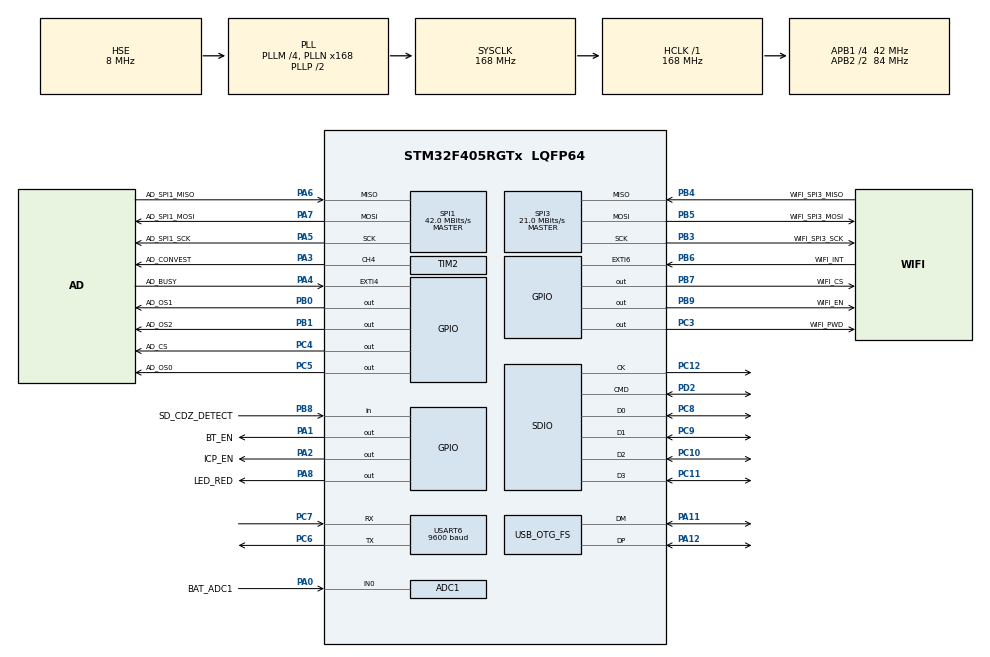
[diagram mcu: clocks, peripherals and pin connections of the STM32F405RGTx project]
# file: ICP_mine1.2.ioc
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ADC1.Channel-0\#ChannelRegularConversion=ADC_CHANNEL_0
ADC1.ClockPrescaler=ADC_CLOCK_SYNC_PCLK_DIV4
ADC1.ContinuousConvMode=DISABLE
ADC1.DMAContinuousRequests=DISABLE
ADC1.DataAlign=ADC_DATAALIGN_RIGHT
ADC1.DiscontinuousConvMode=DISABLE
ADC1.EOCSelection=ADC_EOC_SINGLE_CONV
ADC1.EnableAnalogWatchDog=false
ADC1.ExternalTrigConv=ADC_SOFTWARE_START
ADC1.ExternalTrigConvEdge=ADC_EXTERNALTRIGCONVEDGE_NONE
ADC1.InjNumberOfConversion=0
ADC1.NbrOfConversion=1
ADC1.NbrOfConversionFlag=1
ADC1.Rank-0\#ChannelRegularConversion=1
ADC1.Resolution=ADC_RESOLUTION_12B
ADC1.SamplingTime-0\#ChannelRegularConversion=ADC_SAMPLETIME_3CYCLES
ADC1.ScanConvMode=DISABLE
ADC1.master=1
Dma.Request0=SDIO_RX
Dma.Request1=SDIO_TX
Dma.SDIO_RX.0.Direction=DMA_PERIPH_TO_MEMORY
Dma.SDIO_RX.0.FIFOMode=DMA_FIFOMODE_ENABLE
Dma.SDIO_RX.0.FIFOThreshold=DMA_FIFO_THRESHOLD_FULL
Dma.SDIO_RX.0.Instance=DMA2_Stream3
Dma.SDIO_RX.0.MemBurst=DMA_MBURST_INC4
Dma.SDIO_RX.0.MemDataAlignment=DMA_MDATAALIGN_WORD
Dma.SDIO_RX.0.MemInc=DMA_MINC_ENABLE
Dma.SDIO_RX.0.Mode=DMA_PFCTRL
Dma.SDIO_RX.0.PeriphBurst=DMA_PBURST_INC4
Dma.SDIO_RX.0.PeriphDataAlignment=DMA_PDATAALIGN_WORD
Dma.SDIO_RX.0.PeriphInc=DMA_PINC_DISABLE
Dma.SDIO_RX.0.Priority=DMA_PRIORITY_HIGH
Dma.SDIO_TX.1.Direction=DMA_MEMORY_TO_PERIPH
Dma.SDIO_TX.1.FIFOMode=DMA_FIFOMODE_ENABLE
Dma.SDIO_TX.1.FIFOThreshold=DMA_FIFO_THRESHOLD_FULL
Dma.SDIO_TX.1.Instance=DMA2_Stream6
Dma.SDIO_TX.1.MemBurst=DMA_MBURST_INC4
Dma.SDIO_TX.1.MemDataAlignment=DMA_MDATAALIGN_WORD
Dma.SDIO_TX.1.MemInc=DMA_MINC_ENABLE
Dma.SDIO_TX.1.Mode=DMA_PFCTRL
Dma.SDIO_TX.1.PeriphBurst=DMA_PBURST_INC4
Dma.SDIO_TX.1.PeriphDataAlignment=DMA_PDATAALIGN_WORD
Dma.SDIO_TX.1.PeriphInc=DMA_PINC_DISABLE
Dma.SDIO_TX.1.Priority=DMA_PRIORITY_HIGH
FATFS._USE_LFN=2
FREERTOS.INCLUDE_eTaskGetState=1
FREERTOS.INCLUDE_pcTaskGetTaskName=1
FREERTOS.INCLUDE_uxTaskGetStackHighWaterMark=1
FREERTOS.INCLUDE_vTaskCleanUpResources=1
FREERTOS.INCLUDE_vTaskDelayUntil=1
FREERTOS.INCLUDE_xEventGroupSetBitFromISR=1
FREERTOS.INCLUDE_xTaskAbortDelay=1
FREERTOS.INCLUDE_xTimerPendFunctionCall=1
FREERTOS.Mutexes01=buf_mutex,Dynamic,NULL
FREERTOS.Tasks01=defaultTask,-3,128,StartDefaultTask,As weak,NULL,Dynamic,NULL,NULL;appTask,1,256,StartAppTask,As weak,NULL,Dynamic,NULL,NULL;test_Task,0,128,StartTest_Task,As weak,NULL,Dynamic,NULL,NULL;inquire,2,128,StartInquireTask,As weak,NULL,Dynamic,NULL,NULL
FREERTOS.configCHECK_FOR_STACK_OVERFLOW=2
FREERTOS.configGENERATE_RUN_TIME_STATS=1
FREERTOS.configTOTAL_HEAP_SIZE=102400
FREERTOS.configUSE_MALLOC_FAILED_HOOK=1
FREERTOS.configUSE_RECURSIVE_MUTEXES=1
FREERTOS.configUSE_TIMERS=1
FREERTOS.configUSE_TRACE_FACILITY=1
Mcu.Family=STM32F4
Mcu.Name=STM32F405RGTx
Mcu.Package=LQFP64
NVIC.DMA2_Stream3_IRQn=true\:5\:0\:false\:false\:true\:true\:false
NVIC.DMA2_Stream6_IRQn=true\:5\:0\:false\:false\:true\:true\:false
NVIC.EXTI4_IRQn=true\:5\:0\:true\:false\:true\:true\:true
NVIC.EXTI9_5_IRQn=true\:5\:0\:false\:false\:true\:true\:true
NVIC.OTG_FS_IRQn=true\:5\:0\:false\:false\:true\:true\:false
NVIC.PriorityGroup=NVIC_PRIORITYGROUP_4
NVIC.SDIO_IRQn=true\:5\:0\:false\:false\:true\:true\:true
NVIC.TIM1_UP_TIM10_IRQn=true\:0\:0\:false\:false\:true\:false\:false
NVIC.TIM3_IRQn=true\:5\:0\:false\:false\:true\:true\:true
NVIC.TimeBase=TIM1_UP_TIM10_IRQn
NVIC.TimeBaseIP=TIM1
NVIC.USART6_IRQn=true\:5\:0\:false\:false\:true\:true\:true
PA0-WKUP.GPIO_Label=BAT_ADC1
PA0-WKUP.Signal=ADCx_IN0
PA1.GPIO_Label=BT_EN
PA1.GPIO_PuPd=GPIO_PULLDOWN
PA1.GPIO_Speed=GPIO_SPEED_FREQ_HIGH
PA1.Signal=GPIO_Output
PA11.Mode=Device_Only
PA11.Signal=USB_OTG_FS_DM
PA12.Mode=Device_Only
PA12.Signal=USB_OTG_FS_DP
PA2.GPIO_Label=ICP_EN
PA2.GPIO_PuPd=GPIO_PULLDOWN
PA2.GPIO_Speed=GPIO_SPEED_FREQ_HIGH
PA2.PinState=GPIO_PIN_SET
PA2.Signal=GPIO_Output
PA3.GPIO_Label=AD_CONVEST
PA3.Signal=S_TIM2_CH4
PA4.GPIO_Label=AD_BUSY
PA4.GPIO_ModeDefaultEXTI=GPIO_MODE_IT_FALLING
PA4.Signal=GPXTI4
PA5.GPIO_Label=AD_SPI1_SCK
PA5.GPIO_PuPd=GPIO_PULLUP
PA5.Mode=Full_Duplex_Master
PA5.Signal=SPI1_SCK
PA6.GPIO_Label=AD_SPI1_MISO
PA6.GPIO_PuPd=GPIO_PULLUP
PA6.Mode=Full_Duplex_Master
PA6.Signal=SPI1_MISO
PA7.GPIO_Label=AD_SPI1_MOSI
PA7.GPIO_PuPd=GPIO_PULLUP
PA7.Mode=Full_Duplex_Master
PA7.Signal=SPI1_MOSI
PA8.GPIO_Label=LED_RED
PA8.GPIO_PuPd=GPIO_PULLUP
PA8.GPIO_Speed=GPIO_SPEED_FREQ_HIGH
PA8.Signal=GPIO_Output
PB0.GPIO_Label=AD_OS1
PB0.GPIO_PuPd=GPIO_PULLDOWN
PB0.GPIO_Speed=GPIO_SPEED_FREQ_HIGH
PB0.Signal=GPIO_Output
PB1.GPIO_Label=AD_OS2
PB1.GPIO_PuPd=GPIO_PULLDOWN
PB1.GPIO_Speed=GPIO_SPEED_FREQ_HIGH
PB1.Signal=GPIO_Output
PB3.GPIO_Label=WIFI_SPI3_SCK
PB3.GPIO_PuPd=GPIO_PULLUP
PB3.Mode=Full_Duplex_Master
PB3.Signal=SPI3_SCK
PB4.GPIO_Label=WIFI_SPI3_MISO
PB4.GPIO_PuPd=GPIO_PULLUP
PB4.Mode=Full_Duplex_Master
PB4.Signal=SPI3_MISO
PB5.GPIO_Label=WIFI_SPI3_MOSI
PB5.GPIO_PuPd=GPIO_PULLUP
PB5.Mode=Full_Duplex_Master
PB5.Signal=SPI3_MOSI
PB6.GPIO_Label=WIFI_INT
PB6.GPIO_ModeDefaultEXTI=GPIO_MODE_IT_FALLING
PB6.Signal=GPXTI6
PB7.GPIO_Label=WIFI_CS
PB7.GPIO_PuPd=GPIO_PULLUP
PB7.GPIO_Speed=GPIO_SPEED_FREQ_HIGH
PB7.PinState=GPIO_PIN_SET
PB7.Signal=GPIO_Output
PB8.GPIO_Label=SD_CDZ_DETECT
PB8.GPIO_PuPd=GPIO_PULLUP
PB8.Signal=GPIO_Input
PB9.GPIO_Label=WIFI_EN
PB9.GPIO_PuPd=GPIO_PULLDOWN
PB9.GPIO_Speed=GPIO_SPEED_FREQ_HIGH
PB9.Signal=GPIO_Output
PC10.GPIO_PuPd=GPIO_PULLUP
PC10.Mode=SD_4_bits_Wide_bus
PC10.Signal=SDIO_D2
PC11.GPIO_PuPd=GPIO_PULLUP
PC11.Mode=SD_4_bits_Wide_bus
PC11.Signal=SDIO_D3
PC12.GPIO_PuPd=GPIO_PULLUP
PC12.Mode=SD_4_bits_Wide_bus
PC12.Signal=SDIO_CK
PC14-OSC32_IN.Mode=LSE-External-Oscillator
PC14-OSC32_IN.Signal=RCC_OSC32_IN
PC15-OSC32_OUT.Mode=LSE-External-Oscillator
PC15-OSC32_OUT.Signal=RCC_OSC32_OUT
PC3.GPIO_Label=WIFI_PWD
PC3.GPIO_PuPd=GPIO_PULLUP
PC3.GPIO_Speed=GPIO_SPEED_FREQ_HIGH
PC3.Signal=GPIO_Output
PC4.GPIO_Label=AD_CS
PC4.GPIO_PuPd=GPIO_PULLUP
PC4.GPIO_Speed=GPIO_SPEED_FREQ_HIGH
PC4.PinState=GPIO_PIN_SET
PC4.Signal=GPIO_Output
PC5.GPIO_Label=AD_OS0
PC5.GPIO_PuPd=GPIO_PULLDOWN
PC5.GPIO_Speed=GPIO_SPEED_FREQ_HIGH
PC5.Signal=GPIO_Output
PC6.Mode=Asynchronous
PC6.Signal=USART6_TX
PC7.Mode=Asynchronous
PC7.Signal=USART6_RX
PC8.GPIO_PuPd=GPIO_PULLUP
PC8.Mode=SD_4_bits_Wide_bus
PC8.Signal=SDIO_D0
PC9.GPIO_PuPd=GPIO_PULLUP
PC9.Mode=SD_4_bits_Wide_bus
PC9.Signal=SDIO_D1
PD2.GPIO_PuPd=GPIO_PULLUP
PD2.Mode=SD_4_bits_Wide_bus
PD2.Signal=SDIO_CMD
PH0-OSC_IN.Mode=HSE-External-Oscillator
PH0-OSC_IN.Signal=RCC_OSC_IN
PH1-OSC_OUT.Mode=HSE-External-Oscillator
PH1-OSC_OUT.Signal=RCC_OSC_OUT
ProjectManager.HeapSize=0x1000
ProjectManager.StackSize=0x500
ProjectManager.TargetToolchain=MDK-ARM V5
RCC.48MHZClocksFreq_Value=48000000
RCC.AHBFreq_Value=168000000
RCC.APB1CLKDivider=RCC_HCLK_DIV4
RCC.APB1Freq_Value=42000000
RCC.APB1TimFreq_Value=84000000
RCC.APB2CLKDivider=RCC_HCLK_DIV2
RCC.APB2Freq_Value=84000000
RCC.APB2TimFreq_Value=168000000
RCC.CortexFreq_Value=168000000
RCC.HCLKFreq_Value=168000000
RCC.HSE_VALUE=8000000
RCC.HSI_VALUE=16000000
RCC.PLLM=4
RCC.PLLN=168
RCC.PLLQ=7
RCC.SYSCLKFreq_VALUE=168000000
RCC.SYSCLKSource=RCC_SYSCLKSOURCE_PLLCLK
RCC.VCOOutputFreq_Value=336000000
SH.ADCx_IN0.0=ADC1_IN0,IN0
SH.S_TIM2_CH4.0=TIM2_CH4,PWM Generation4 CH4
SPI1.BaudRatePrescaler=SPI_BAUDRATEPRESCALER_2
SPI1.CLKPhase=SPI_PHASE_2EDGE
SPI1.CLKPolarity=SPI_POLARITY_HIGH
SPI1.CRCCalculation=SPI_CRCCALCULATION_DISABLE
SPI1.CalculateBaudRate=42.0 MBits/s
SPI1.DataSize=SPI_DATASIZE_8BIT
SPI1.Direction=SPI_DIRECTION_2LINES
SPI1.Mode=SPI_MODE_MASTER
SPI1.VirtualType=VM_MASTER
SPI3.CLKPhase=SPI_PHASE_2EDGE
SPI3.CLKPolarity=SPI_POLARITY_HIGH
SPI3.CalculateBaudRate=21.0 MBits/s
SPI3.Direction=SPI_DIRECTION_2LINES
SPI3.Mode=SPI_MODE_MASTER
SPI3.VirtualType=VM_MASTER
TIM2.Channel-PWM\ Generation4\ CH4=TIM_CHANNEL_4
TIM2.Period=1200
TIM2.Prescaler=70-1
TIM3.Prescaler=4200-1
USART6.BaudRate=9600
USART6.VirtualMode=VM_ASYNC
USB_DEVICE.CLASS_NAME_FS=CDC
USB_DEVICE.VirtualMode-CDC_FS=Cdc
USB_DEVICE.VirtualModeFS=Cdc_FS
USB_OTG_FS.VirtualMode=Device_Only
VP_FATFS_VS_SDIO.Mode=SDIO
VP_FREERTOS_VS_ENABLE.Mode=Enabled
VP_SYS_VS_tim1.Mode=TIM1
VP_TIM3_VS_ClockSourceINT.Mode=Internal
VP_USB_DEVICE_VS_USB_DEVICE_CDC_FS.Mode=CDC_FS
board=ICP_mine1.2

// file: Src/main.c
/**
  ******************************************************************************
  * @file           : main.c
  * @brief          : Main program body
  ******************************************************************************
  * This notice applies to any and all portions of this file
  * that are not between comment pairs USER CODE BEGIN and
  * USER CODE END. Other portions of this file, whether
  * inserted by the user or by software development tools
  * are owned by their respective copyright owners.
  *
  * Copyright (c) 2018 STMicroelectronics International N.V.
  * All rights reserved.
  *
  * Redistribution and use in source and binary forms, with or without
  * modification, are permitted, provided that the following conditions are met:
  *
  * 1. Redistribution of source code must retain the above copyright notice,
  *    this list of conditions and the following disclaimer.
  * 2. Redistributions in binary form must reproduce the above copyright notice,
  *    this list of conditions and the following disclaimer in the documentation
  *    and/or other materials provided with the distribution.
  * 3. Neither the name of STMicroelectronics nor the names of other
  *    contributors to this software may be used to endorse or promote products
  *    derived from this software without specific written permission.
  * 4. This software, including modifications and/or derivative works of this
  *    software, must execute solely and exclusively on microcontroller or
  *    microprocessor devices manufactured by or for STMicroelectronics.
  * 5. Redistribution and use of this software other than as permitted under
  *    this license is void and will automatically terminate your rights under
  *    this license.
  *
  * THIS SOFTWARE IS PROVIDED BY STMICROELECTRONICS AND CONTRIBUTORS "AS IS"
  * AND ANY EXPRESS, IMPLIED OR STATUTORY WARRANTIES, INCLUDING, BUT NOT
  * LIMITED TO, THE IMPLIED WARRANTIES OF MERCHANTABILITY, FITNESS FOR A
  * PARTICULAR PURPOSE AND NON-INFRINGEMENT OF THIRD PARTY INTELLECTUAL PROPERTY
  * RIGHTS ARE DISCLAIMED TO THE FULLEST EXTENT PERMITTED BY LAW. IN NO EVENT
  * SHALL STMICROELECTRONICS OR CONTRIBUTORS BE LIABLE FOR ANY DIRECT, INDIRECT,
  * INCIDENTAL, SPECIAL, EXEMPLARY, OR CONSEQUENTIAL DAMAGES (INCLUDING, BUT NOT
  * LIMITED TO, PROCUREMENT OF SUBSTITUTE GOODS OR SERVICES; LOSS OF USE, DATA,
  * OR PROFITS; OR BUSINESS INTERRUPTION) HOWEVER CAUSED AND ON ANY THEORY OF
  * LIABILITY, WHETHER IN CONTRACT, STRICT LIABILITY, OR TORT (INCLUDING
  * NEGLIGENCE OR OTHERWISE) ARISING IN ANY WAY OUT OF THE USE OF THIS SOFTWARE,
  * EVEN IF ADVISED OF THE POSSIBILITY OF SUCH DAMAGE.
  *
  ******************************************************************************
  */
#include "main.h"
#include "stm32f4xx_hal.h"
#include "cmsis_os.h"
#include "adc.h"
#include "dma.h"
#include "fatfs.h"
#include "sdio.h"
#include "spi.h"
#include "tim.h"
#include "usart.h"
#include "usb_device.h"
#include "gpio.h"

/* USER CODE BEGIN Includes */
#include "AD7606.h"
#include "bluetooth.h"
#include "usbd_cdc_if.h"

#include "xprintf_init.h"
#include "lua_test.h"
#include "mmcfs.h"
/* USER CODE END Includes */

/* USER CODE BEGIN PV */
/* Private variables ---------------------------------------------------------*/

/* USER CODE END PV */

void SystemClock_Config(void);
void MX_FREERTOS_Init(void);

/* USER CODE BEGIN PFP */
/* Private function prototypes -----------------------------------------------*/

/* USER CODE END PFP */

/* USER CODE BEGIN 0 */
extern void lua_app_main(void);//add by lcj

static void LuaTask(void *pvParameters);//add by lcj

static void LuaTask(void *pvParameters) {
	lua_app_main();//add by lcj
	vTaskDelete(NULL);//若传进来的值是NULl,则删除的是任务本身
	for(;;){
	  vTaskDelay(5000);
	}
}

#define lUA_BOOT_TASK_PRIORITY			( configMAX_PRIORITIES/2 )
#define lUA_BOOT_TASK_STACK 2048
/* USER CODE END 0 */

int main(void)
{

  /* MCU Configuration----------------------------------------------------------*/

  /* Reset of all peripherals, Initializes the Flash interface and the Systick. */
  HAL_Init();

  /* Configure the system clock */
  SystemClock_Config();

  /* Initialize all configured peripherals */
  MX_GPIO_Init();
  MX_DMA_Init();
  MX_TIM3_Init();
  MX_ADC1_Init();
  MX_SPI3_Init();
  MX_USART6_UART_Init();
  MX_SPI1_Init();
  MX_TIM2_Init();
  MX_SDIO_SD_Init();
  /* USER CODE BEGIN 2 */
	#if (AD_USE_RST)
	HAL_GPIO_WritePin(BT_EN_GPIO_Port,BT_EN_Pin,GPIO_PIN_RESET);//不用蓝牙的端口
	#else
  HAL_GPIO_WritePin(BT_EN_GPIO_Port,BT_EN_Pin,GPIO_PIN_SET);
	#endif
	HAL_GPIO_WritePin(WIFI_EN_GPIO_Port,WIFI_EN_Pin,GPIO_PIN_SET);
	//HAL_GPIO_WritePin(ICP_EN_GPIO_Port,ICP_EN_Pin,GPIO_PIN_SET);
	AD7606_Init();
  PowerOn(ICP);

	//注意如果在freeRTOS的default Task中初始化了,串口助手会无法打开，而且使用USB功能需要将heap调大，否则会出现问题
	MX_USB_DEVICE_Init();//初始化USB 在freeRTOS中初始化了
	HAL_Delay(200);
  AD_CONVEST_PWM_Init(10);//10kHz
	//SetBluetoothBaud(9600);//设置蓝牙的波特率
	  MX_FATFS_Init();
		x_printf_init();

  HAL_Delay(5000);//延长5s再开启蓝牙
//	lua_main_test();//测试lua脚本
	xprintf("\r\n");
	/*check GPIO SD detect*/
//	if(HAL_GPIO_ReadPin(SD_CDZ_DETECT_GPIO_Port,SD_CDZ_DETECT_Pin)!=GPIO_PIN_RESET){//SD插入时为低电平
//		xprintf("SD error");
//	}
	 if(mmcfs_init()<0){//初始化mmc_wrap 可以使用printf
		 xprintf("none SD scard!\r\n");
	 }

	 xTaskCreate(LuaTask, "LuaTask", lUA_BOOT_TASK_STACK, NULL, lUA_BOOT_TASK_PRIORITY, NULL);//里面包含了文件的读写
//	 do_file_script1("autorun.lua");//测试lua SD卡读入

//	HAL_TIM_PWM_Start(&htim2,TIM_CHANNEL_4);

  /* USER CODE END 2 */

  /* Call init function for freertos objects (in freertos.c) */
  MX_FREERTOS_Init();

  /* Start scheduler */
  osKernelStart();

  /* We should never get here as control is now taken by the scheduler */

  /* Infinite loop */
  /* USER CODE BEGIN WHILE */

	//OS下不会执行到这里来的
	uint8_t buf;
  while (1)
  {
  /* USER CODE END WHILE */

  /* USER CODE BEGIN 3 */
//		HAL_GPIO_TogglePin(LED_RED_GPIO_Port,LED_RED_Pin);
//		HAL_Delay(1000);
		HAL_Delay(10);
		UsbReceiveData(&buf);
		if(buf=='Y')
		{
			HAL_TIM_PWM_Start(&htim2, TIM_CHANNEL_4);
			PowerOn(LED);
			buf=0;
		}
		else if(buf=='N')
		{
			HAL_TIM_PWM_Stop(&htim2, TIM_CHANNEL_4);
			PowerOff(LED);
			buf=0;
		}

  }
  /* USER CODE END 3 */

}

void SystemClock_Config(void)
{

  RCC_OscInitTypeDef RCC_OscInitStruct;
  RCC_ClkInitTypeDef RCC_ClkInitStruct;

    /**Configure the main internal regulator output voltage
    */
  __HAL_RCC_PWR_CLK_ENABLE();

  __HAL_PWR_VOLTAGESCALING_CONFIG(PWR_REGULATOR_VOLTAGE_SCALE1);

    /**Initializes the CPU, AHB and APB busses clocks
    */
  RCC_OscInitStruct.OscillatorType = RCC_OSCILLATORTYPE_HSE;
  RCC_OscInitStruct.HSEState = RCC_HSE_ON;
  RCC_OscInitStruct.PLL.PLLState = RCC_PLL_ON;
  RCC_OscInitStruct.PLL.PLLSource = RCC_PLLSOURCE_HSE;
  RCC_OscInitStruct.PLL.PLLM = 4;
  RCC_OscInitStruct.PLL.PLLN = 168;
  RCC_OscInitStruct.PLL.PLLP = RCC_PLLP_DIV2;
  RCC_OscInitStruct.PLL.PLLQ = 7;
  if (HAL_RCC_OscConfig(&RCC_OscInitStruct) != HAL_OK)
  {
    _Error_Handler(__FILE__, __LINE__);
  }

    /**Initializes the CPU, AHB and APB busses clocks
    */
  RCC_ClkInitStruct.ClockType = RCC_CLOCKTYPE_HCLK|RCC_CLOCKTYPE_SYSCLK
                              |RCC_CLOCKTYPE_PCLK1|RCC_CLOCKTYPE_PCLK2;
  RCC_ClkInitStruct.SYSCLKSource = RCC_SYSCLKSOURCE_PLLCLK;
  RCC_ClkInitStruct.AHBCLKDivider = RCC_SYSCLK_DIV1;
  RCC_ClkInitStruct.APB1CLKDivider = RCC_HCLK_DIV4;
  RCC_ClkInitStruct.APB2CLKDivider = RCC_HCLK_DIV2;

  if (HAL_RCC_ClockConfig(&RCC_ClkInitStruct, FLASH_LATENCY_5) != HAL_OK)
  {
    _Error_Handler(__FILE__, __LINE__);
  }

    /**Configure the Systick interrupt time
    */
  HAL_SYSTICK_Config(HAL_RCC_GetHCLKFreq()/1000);

    /**Configure the Systick
    */
  HAL_SYSTICK_CLKSourceConfig(SYSTICK_CLKSOURCE_HCLK);

  /* SysTick_IRQn interrupt configuration */
  HAL_NVIC_SetPriority(SysTick_IRQn, 15, 0);
}

void HAL_TIM_PeriodElapsedCallback(TIM_HandleTypeDef *htim)
{
  if (htim->Instance == TIM1) {
    HAL_IncTick();
  }
  /* USER CODE BEGIN Callback 1 */
  if(htim->Instance == TIM3) {
    Tim3Counter++;
  }
  /* USER CODE END Callback 1 */
}

void _Error_Handler(char *file, int line)
{
  /* USER CODE BEGIN Error_Handler_Debug */
  /* User can add his own implementation to report the HAL error return state */
  while(1)
  {
		printf("_Error_Handler: file %s on line %d\r\n", file, line);
		HAL_GPIO_TogglePin(LED_RED_GPIO_Port,LED_RED_Pin);
		HAL_Delay(10000);
  }
  /* USER CODE END Error_Handler_Debug */
}

#ifdef  USE_FULL_ASSERT
/**
  * @brief  Reports the name of the source file and the source line number
  *         where the assert_param error has occurred.
  * @param  file: pointer to the source file name
  * @param  line: assert_param error line source number
  * @retval None
  */
void assert_failed(uint8_t* file, uint32_t line)
{
  /* USER CODE BEGIN 6 */
  /* User can add his own implementation to report the file name and line number,
    ex: printf("Wrong parameters value: file %s on line %d\r\n", file, line) */
	while(1){
		printf("Wrong parameters value: file %s on line %d\r\n", file, line);
		osDelay(1000);
	}
  /* USER CODE END 6 */
}
#endif /* USE_FULL_ASSERT */

/************************ (C) COPYRIGHT STMicroelectronics *****END OF FILE****/

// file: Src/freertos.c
/**
  ******************************************************************************
  * File Name          : freertos.c
  * Description        : Code for freertos applications
  ******************************************************************************
  * This notice applies to any and all portions of this file
  * that are not between comment pairs USER CODE BEGIN and
  * USER CODE END. Other portions of this file, whether
  * inserted by the user or by software development tools
  * are owned by their respective copyright owners.
  *
  * Copyright (c) 2018 STMicroelectronics International N.V.
  * All rights reserved.
  *
  * Redistribution and use in source and binary forms, with or without
  * modification, are permitted, provided that the following conditions are met:
  *
  * 1. Redistribution of source code must retain the above copyright notice,
  *    this list of conditions and the following disclaimer.
  * 2. Redistributions in binary form must reproduce the above copyright notice,
  *    this list of conditions and the following disclaimer in the documentation
  *    and/or other materials provided with the distribution.
  * 3. Neither the name of STMicroelectronics nor the names of other
  *    contributors to this software may be used to endorse or promote products
  *    derived from this software without specific written permission.
  * 4. This software, including modifications and/or derivative works of this
  *    software, must execute solely and exclusively on microcontroller or
  *    microprocessor devices manufactured by or for STMicroelectronics.
  * 5. Redistribution and use of this software other than as permitted under
  *    this license is void and will automatically terminate your rights under
  *    this license.
  *
  * THIS SOFTWARE IS PROVIDED BY STMICROELECTRONICS AND CONTRIBUTORS "AS IS"
  * AND ANY EXPRESS, IMPLIED OR STATUTORY WARRANTIES, INCLUDING, BUT NOT
  * LIMITED TO, THE IMPLIED WARRANTIES OF MERCHANTABILITY, FITNESS FOR A
  * PARTICULAR PURPOSE AND NON-INFRINGEMENT OF THIRD PARTY INTELLECTUAL PROPERTY
  * RIGHTS ARE DISCLAIMED TO THE FULLEST EXTENT PERMITTED BY LAW. IN NO EVENT
  * SHALL STMICROELECTRONICS OR CONTRIBUTORS BE LIABLE FOR ANY DIRECT, INDIRECT,
  * INCIDENTAL, SPECIAL, EXEMPLARY, OR CONSEQUENTIAL DAMAGES (INCLUDING, BUT NOT
  * LIMITED TO, PROCUREMENT OF SUBSTITUTE GOODS OR SERVICES; LOSS OF USE, DATA,
  * OR PROFITS; OR BUSINESS INTERRUPTION) HOWEVER CAUSED AND ON ANY THEORY OF
  * LIABILITY, WHETHER IN CONTRACT, STRICT LIABILITY, OR TORT (INCLUDING
  * NEGLIGENCE OR OTHERWISE) ARISING IN ANY WAY OUT OF THE USE OF THIS SOFTWARE,
  * EVEN IF ADVISED OF THE POSSIBILITY OF SUCH DAMAGE.
  *
  ******************************************************************************
  */

#include "FreeRTOS.h"
#include "task.h"
#include "cmsis_os.h"

osThreadId defaultTaskHandle;
osThreadId appTaskHandle;
osThreadId test_TaskHandle;
osThreadId inquireHandle;
osMutexId buf_mutexHandle;

void StartDefaultTask(void const * argument);
void StartAppTask(void const * argument);
void StartTest_Task(void const * argument);
void StartInquireTask(void const * argument);

extern void MX_USB_DEVICE_Init(void);
extern void MX_FATFS_Init(void);
void MX_FREERTOS_Init(void); /* (MISRA C 2004 rule 8.1) */

/* Hook prototypes */
void configureTimerForRunTimeStats(void);
unsigned long getRunTimeCounterValue(void);
void vApplicationStackOverflowHook(xTaskHandle xTask, signed char *pcTaskName);
void vApplicationMallocFailedHook(void);

/* USER CODE BEGIN 1 */
/* Functions needed when configGENERATE_RUN_TIME_STATS is on */
__weak void configureTimerForRunTimeStats(void)
{

}

__weak unsigned long getRunTimeCounterValue(void)
{
  return 0;
}

////覆盖上面的函数
//void configureTimerForRunTimeStats(void)
//{
//    HAL_TIM_Base_Start_IT(&htim3);
//}

//unsigned long getRunTimeCounterValue(void)
//{
//    /*返回定时器3中断处理函数的变量*/
//    return Tim3Counter;
//}
/* USER CODE END 1 */

/* USER CODE BEGIN 4 */

__weak void vApplicationStackOverflowHook(xTaskHandle xTask, signed char *pcTaskName)
{
   /* Run time stack overflow checking is performed if
   configCHECK_FOR_STACK_OVERFLOW is defined to 1 or 2. This hook function is
   called if a stack overflow is detected. */
}

////覆盖上面的函数
//void vApplicationStackOverflowHook(xTaskHandle xTask, signed char *pcTaskName)
//{
//    /* Run time stack overflow checking is performed if
//    configCHECK_FOR_STACK_OVERFLOW is defined to 1 or 2. This hook function is
//    called if a stack overflow is detected. */
//    DPRINTF("%s StackOverFlow!\r\n",pcTaskName);
//}

/* USER CODE END 4 */

/* USER CODE BEGIN 5 */

__weak void vApplicationMallocFailedHook(void)
{
   /* vApplicationMallocFailedHook() will only be called if
   configUSE_MALLOC_FAILED_HOOK is set to 1 in FreeRTOSConfig.h. It is a hook
   function that will get called if a call to pvPortMalloc() fails.
   pvPortMalloc() is called internally by the kernel whenever a task, queue,
   timer or semaphore is created. It is also called by various parts of the
   demo application. If heap_1.c or heap_2.c are used, then the size of the
   heap available to pvPortMalloc() is defined by configTOTAL_HEAP_SIZE in
   FreeRTOSConfig.h, and the xPortGetFreeHeapSize() API function can be used
   to query the size of free heap space that remains (although it does not
   provide information on how the remaining heap might be fragmented). */
}

////覆盖上面的函数
//void vApplicationMallocFailedHook(void)
//{
//    /* vApplicationMallocFailedHook() will only be called if
//    configUSE_MALLOC_FAILED_HOOK is set to 1 in FreeRTOSConfig.h. It is a hook
//    function that will get called if a call to pvPortMalloc() fails.
//    pvPortMalloc() is called internally by the kernel whenever a task, queue,
//    timer or semaphore is created. It is also called by various parts of the
//    demo application. If heap_1.c or heap_2.c are used, then the size of the
//    heap available to pvPortMalloc() is defined by configTOTAL_HEAP_SIZE in
//    FreeRTOSConfig.h, and the xPortGetFreeHeapSize() API function can be used
//    to query the size of free heap space that remains (although it does not
//    provide information on how the remaining heap might be fragmented). */
//    DPRINTF("vApplicationMallocFailedHook!\r\n");
//}

/* USER CODE END 5 */

/* Init FreeRTOS */

void MX_FREERTOS_Init(void) {

  /* Create the mutex(es) */
  /* definition and creation of buf_mutex */
  osMutexDef(buf_mutex);
  buf_mutexHandle = osMutexCreate(osMutex(buf_mutex));

  /* Create the thread(s) */
  /* definition and creation of defaultTask */
  osThreadDef(defaultTask, StartDefaultTask, osPriorityIdle, 0, 128);
  defaultTaskHandle = osThreadCreate(osThread(defaultTask), NULL);

  /* definition and creation of appTask */
//  osThreadDef(appTask, StartAppTask, osPriorityAboveNormal, 0, 256);
//  appTaskHandle = osThreadCreate(osThread(appTask), NULL);

  /* definition and creation of test_Task */
  osThreadDef(test_Task, StartTest_Task, osPriorityNormal, 0, 128);
  test_TaskHandle = osThreadCreate(osThread(test_Task), NULL);

  /* definition and creation of inquire */
  osThreadDef(inquire, StartInquireTask, osPriorityHigh, 0, 128);
  inquireHandle = osThreadCreate(osThread(inquire), NULL);

}

/* StartDefaultTask function */
__weak void StartDefaultTask(void const * argument)
{
  /* init code for USB_DEVICE */
  MX_USB_DEVICE_Init();

  /* init code for FATFS */
  MX_FATFS_Init();

  /* USER CODE BEGIN StartDefaultTask */
  /* Infinite loop */
  for(;;)
  {
//		get_xtask_state();//获取任务的状态
//		HAL_GPIO_TogglePin(LED_RED_GPIO_Port,LED_RED_Pin);
		//HAL_Delay(1000);
    osDelay(5000);//每隔5秒获取一次每个任务的状态信息
  }
  /* USER CODE END StartDefaultTask */
}

/* StartAppTask function */
__weak void StartAppTask(void const * argument)
{
  for(;;)
  {
    osDelay(1);
  }
}

/* StartTest_Task function */
__weak void StartTest_Task(void const * argument)
{
  for(;;)
  {
		osDelay(1);
  }
}

/* StartInquireTask function */
__weak void StartInquireTask(void const * argument)
{
  for(;;)
  {
    osDelay(1);
  }
}

/************************ (C) COPYRIGHT STMicroelectronics *****END OF FILE****/
